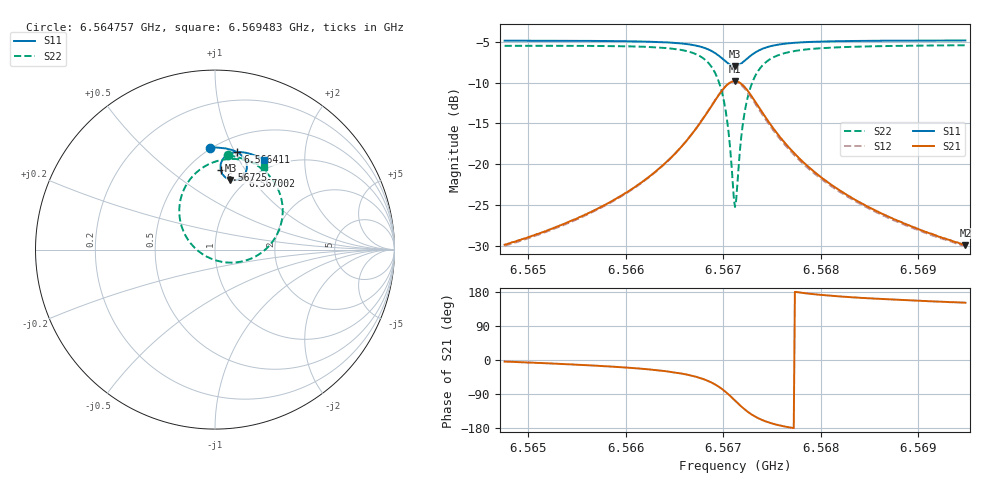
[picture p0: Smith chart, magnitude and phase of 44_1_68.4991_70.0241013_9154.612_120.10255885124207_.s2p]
#  HZ  S  RI  R  50.00
! Rohde & Schwarz Vector Network Analyzer
! Rohde-Schwarz,ZNB20-2Port,1311601062101988,3.16
! Created: UTC 3/20/2024, 4:50:33 PM
! freq[Hz]  re:S11  im:S11  re:S21  im:S21  re:S12  im:S12  re:S22  im:S22
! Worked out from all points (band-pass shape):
!   401 points, 6.564757 GHz to 6.569483 GHz, reference 50 ohm
!   highest |S21| = -9.83 dB at 6.56712 GHz (marker M1); lowest = -29.8 dB at 6.569483 GHz (marker M2)
!   |S21| within 3 dB of the highest: 6.566881 GHz to 6.567355 GHz (473.8 kHz wide, 0.00721 % of centre)
!   lowest |S11| = -8.0 dB at 6.56712 GHz (marker M3), VSWR 2.32, Z = 42.7 + j39.4 ohm
!   |S11| at or under -10 dB: nowhere
!   |S22| runs from -25.2 to -5.4 dB; largest |S21 - S12| = 0.017
!   S11 on the Smith chart (normalised r, x): 6.564757 GHz: 0.49, +0.82; 6.566411 GHz: 0.65, +1.02; 6.567002 GHz: 0.92, +0.93; 6.56725 GHz: 0.71, +0.78; 6.569483 GHz: 0.87, +1.29
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6.5647573e9  -0.0301 0.5685  0.0323 -0.00229  0.0316 -0.00283  0.074 0.5244
6.5655488e9  0.0366 0.5669  0.047 -0.0109  0.0463 -0.0115  0.1555 0.506
6.5659977e9  0.0788 0.5595  0.063 -0.0227  0.0619 -0.0235  0.2153 0.4802
6.5663403e9  0.1159 0.5467  0.0836 -0.0436  0.0824 -0.0444  0.2766 0.4374
6.5664112e9  0.1246 0.5422  0.0892 -0.0509  0.0881 -0.052  0.2921 0.4228
6.5666475e9  0.1555 0.5179  0.1119 -0.0927  0.1101 -0.0948  0.3494 0.3405
6.5668247e9  0.1759 0.4784  0.1215 -0.1624  0.1182 -0.1664  0.3773 0.2056
6.566931e9  0.1742 0.4384  0.0997 -0.233  0.0927 -0.2377  0.3387 0.0716
6.5670019e9  0.1557 0.408  0.0528 -0.2849  0.0413 -0.2883  0.2497 -0.0238
6.5670492e9  0.1323 0.3922  0.00137 -0.3097  -0.013 -0.31  0.1531 -0.0656
6.5670964e9  0.102 0.3864  -0.0617 -0.3151  -0.0772 -0.3104  0.0381 -0.0683
6.5671201e9  0.0861 0.3887  -0.0941 -0.3085  -0.1088 -0.301  -0.0188 -0.0517
6.5671437e9  0.0712 0.3941  -0.1243 -0.2954  -0.1378 -0.2855  -0.071 -0.0244
6.5671791e9  0.0523 0.4078  -0.1625 -0.2667  -0.173 -0.2539  -0.1336 0.0326
6.5672027e9  0.0429 0.4193  -0.1818 -0.2434  -0.1896 -0.2297  -0.1635 0.0766
6.56725e9  0.0324 0.4444  -0.2046 -0.1939  -0.208 -0.1798  -0.1949 0.1667
6.5673445e9  0.0358 0.4877  -0.2056 -0.1102  -0.2037 -0.0994  -0.1821 0.3128
6.5674863e9  0.0631 0.5235  -0.1699 -0.0408  -0.166 -0.0349  -0.1045 0.4288
6.5676517e9  0.0948 0.5392  -0.1308 -0.00781  -0.1276 -0.00472  -0.0232 0.4809
6.5679116e9  0.1335 0.544  -0.092 0.00943  -0.0895 0.0109  0.0631 0.5035
6.5687031e9  0.2134 0.5277  -0.0449 0.0165  -0.0438 0.0167  0.197 0.4902
6.5694828e9  0.2739 0.5012  -0.0282 0.0156  -0.0276 0.0156  0.2728 0.4591
